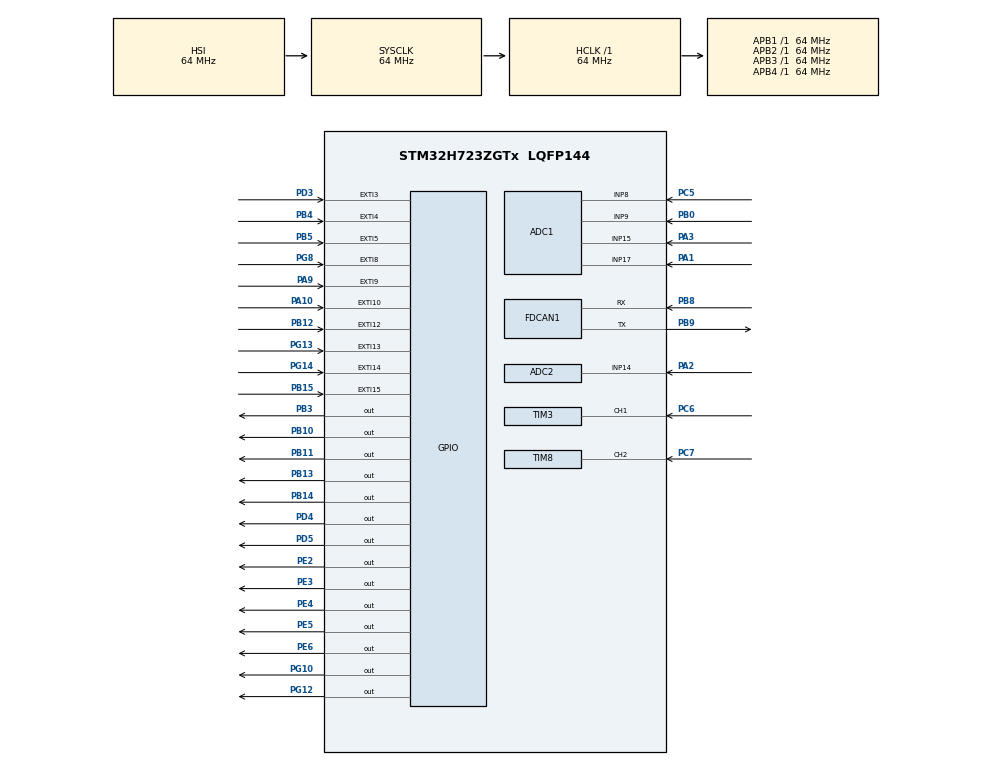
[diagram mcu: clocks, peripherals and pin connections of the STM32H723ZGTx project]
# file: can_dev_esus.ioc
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ADC1.Channel-0\#ChannelRegularConversion=ADC_CHANNEL_9
ADC1.ClockPrescaler=ADC_CLOCK_ASYNC_DIV4
ADC1.NbrOfConversionFlag=1
ADC1.OffsetNumber-0\#ChannelRegularConversion=ADC_OFFSET_NONE
ADC1.OffsetSignedSaturation-0\#ChannelRegularConversion=DISABLE
ADC1.Rank-0\#ChannelRegularConversion=1
ADC1.SamplingTime-0\#ChannelRegularConversion=ADC_SAMPLETIME_1CYCLE_5
ADC1.master=1
ADC2.Channel-0\#ChannelRegularConversion=ADC_CHANNEL_14
ADC2.ClockPrescaler=ADC_CLOCK_ASYNC_DIV4
ADC2.NbrOfConversionFlag=1
ADC2.OffsetNumber-0\#ChannelRegularConversion=ADC_OFFSET_NONE
ADC2.OffsetSignedSaturation-0\#ChannelRegularConversion=DISABLE
ADC2.Rank-0\#ChannelRegularConversion=1
ADC2.SamplingTime-0\#ChannelRegularConversion=ADC_SAMPLETIME_1CYCLE_5
CORTEX_M7.default_mode_Activation=1
FDCAN1.AutoRetransmission=ENABLE
FDCAN1.CalculateBaudRateNominal=500000
FDCAN1.CalculateTimeBitNominal=2000
FDCAN1.CalculateTimeQuantumNominal=125.0
FDCAN1.DataPrescaler=5
FDCAN1.DataSyncJumpWidth=2
FDCAN1.DataTimeSeg1=13
FDCAN1.DataTimeSeg2=6
FDCAN1.NominalPrescaler=6
FDCAN1.NominalSyncJumpWidth=6
FDCAN1.NominalTimeSeg1=13
FDCAN1.NominalTimeSeg2=2
FDCAN1.RxFifo0ElmtsNbr=4
FDCAN1.StdFiltersNbr=1
FDCAN1.TxFifoQueueElmtsNbr=4
Mcu.Family=STM32H7
Mcu.Name=STM32H723ZGTx
Mcu.Package=LQFP144
NVIC.FDCAN1_IT0_IRQn=true\:0\:0\:false\:false\:true\:true\:true\:true
NVIC.PriorityGroup=NVIC_PRIORITYGROUP_4
NVIC.TIM3_IRQn=true\:0\:0\:false\:false\:true\:true\:true\:true
NVIC.TIM8_CC_IRQn=true\:0\:0\:false\:false\:true\:true\:true\:true
PA0.Signal=ADC1_INP16
PA1.Mode=IN17-Single-Ended
PA1.Signal=ADC1_INP17
PA10.Signal=GPXTI10
PA11.Signal=USB_OTG_HS_DM
PA12.Signal=USB_OTG_HS_DP
PA13(JTMS/SWDIO).Signal=DEBUG_JTMS-SWDIO
PA14(JTCK/SWCLK).Signal=DEBUG_JTCK-SWCLK
PA2.Signal=ADCx_INP14
PA3.Signal=ADCx_INP15
PA7.Signal=FMC_SDNWE
PA9.Signal=GPXTI9
PB0.Signal=ADCx_INP9
PB1.Signal=ADCx_INP5
PB10.Signal=GPIO_Output
PB11.Signal=GPIO_Output
PB12.Signal=GPXTI12
PB13.Signal=GPIO_Output
PB14.Signal=GPIO_Output
PB15.Signal=GPXTI15
PB3(JTDO/TRACESWO).Signal=GPIO_Output
PB4(NJTRST).Signal=GPXTI4
PB5.Signal=GPXTI5
PB6.Signal=I2C1_SCL
PB7.Signal=I2C1_SDA
PB8.Mode=FDCAN_Activate
PB8.Signal=FDCAN1_RX
PB9.Mode=FDCAN_Activate
PB9.Signal=FDCAN1_TX
PC10.Signal=SDMMC1_D2
PC11.Signal=SDMMC1_D3
PC12.Signal=SDMMC1_CK
PC14-OSC32_IN.Mode=LSE-External-Oscillator
PC14-OSC32_IN.Signal=RCC_OSC32_IN
PC15-OSC32_OUT.Mode=LSE-External-Oscillator
PC15-OSC32_OUT.Signal=RCC_OSC32_OUT
PC2_C.Signal=FMC_SDNE0
PC3_C.Signal=FMC_SDCKE0
PC5.Signal=ADCx_INP8
PC6.Signal=S_TIM3_CH1
PC7.Signal=S_TIM8_CH2
PC8.Signal=SDMMC1_D0
PC9.Signal=SDMMC1_D1
PD0.Signal=FMC_D2_DA2
PD1.Signal=FMC_D3_DA3
PD14.Signal=FMC_D0_DA0
PD2.Signal=SDMMC1_CMD
PD3.Signal=GPXTI3
PD4.Signal=GPIO_Output
PD5.Signal=GPIO_Output
PD7.Signal=SPI1_MOSI
PE10.Signal=FMC_D7_DA7
PE11.Signal=OCTOSPIM_P1_NCS
PE2.Signal=GPIO_Output
PE3.Signal=GPIO_Output
PE4.Signal=GPIO_Output
PE5.Signal=GPIO_Output
PE6.Signal=GPIO_Output
PE7.Signal=FMC_D4_DA4
PE8.Signal=FMC_D5_DA5
PE9.Signal=FMC_D6_DA6
PF0.Signal=FMC_A0
PF1.Signal=FMC_A1
PF10.Signal=OCTOSPIM_P1_CLK
PF11.Signal=FMC_SDNRAS
PF12.Signal=FMC_A6
PF13.Signal=FMC_A7
PF14.Signal=FMC_A8
PF15.Signal=FMC_A9
PF2.Signal=FMC_A2
PF3.Signal=FMC_A3
PF4.Signal=FMC_A4
PF5.Signal=FMC_A5
PF6.Signal=OCTOSPIM_P1_IO3
PF7.Signal=OCTOSPIM_P1_IO2
PF8.Signal=OCTOSPIM_P1_IO0
PF9.Signal=OCTOSPIM_P1_IO1
PG0.Signal=FMC_A10
PG1.Signal=FMC_A11
PG10.Signal=GPIO_Output
PG11.Signal=SPI1_SCK
PG12.Signal=GPIO_Output
PG13.Signal=GPXTI13
PG14.Signal=GPXTI14
PG15.Signal=FMC_SDNCAS
PG2.Signal=FMC_A12
PG4.Signal=FMC_A14_BA0
PG5.Signal=FMC_A15_BA1
PG8.Signal=GPXTI8
PG9.Signal=SPI1_MISO
PH0-OSC_IN.Mode=HSE-External-Oscillator
PH0-OSC_IN.Signal=RCC_OSC_IN
PH1-OSC_OUT.Mode=HSE-External-Oscillator
PH1-OSC_OUT.Signal=RCC_OSC_OUT
ProjectManager.HeapSize=0x200
ProjectManager.StackSize=0x400
ProjectManager.TargetToolchain=CMake
RCC.ADCFreq_Value=38400000
RCC.APB1Freq_Value=64000000
RCC.APB2Freq_Value=64000000
RCC.APB3Freq_Value=64000000
RCC.APB4Freq_Value=64000000
RCC.CortexFreq_Value=64000000
RCC.DIVM1=4
RCC.DIVM2=4
RCC.DIVN1=12
RCC.DIVN2=12
RCC.DIVP2=5
RCC.DIVQ1=4
RCC.HCLKFreq_Value=64000000
RCC.PLL2FRACN=0
RCC.PLLFRACN=0
RCC.SYSCLKFreq_VALUE=64000000
RCC.USBFreq_Value=48000000
SH.ADCx_INP14.0=ADC2_INP14,IN14-Single-Ended
SH.ADCx_INP14.1=ADC1_INP14,IN14-Single-Ended
SH.ADCx_INP15.0=ADC1_INP15,IN15-Single-Ended
SH.ADCx_INP5.0=ADC1_INP5
SH.ADCx_INP8.0=ADC1_INP8,IN8-Single-Ended
SH.ADCx_INP9.0=ADC1_INP9,IN9-Single-Ended
SH.FMC_A0.0=FMC_A0
SH.FMC_A1.0=FMC_A1
SH.FMC_A10.0=FMC_A10
SH.FMC_A11.0=FMC_A11
SH.FMC_A12.0=FMC_A12
SH.FMC_A14_BA0.0=FMC_BA0
SH.FMC_A15_BA1.0=FMC_BA1
SH.FMC_A2.0=FMC_A2
SH.FMC_A3.0=FMC_A3
SH.FMC_A4.0=FMC_A4
SH.FMC_A5.0=FMC_A5
SH.FMC_A6.0=FMC_A6
SH.FMC_A7.0=FMC_A7
SH.FMC_A8.0=FMC_A8
SH.FMC_A9.0=FMC_A9
SH.FMC_D0_DA0.0=FMC_D0
SH.FMC_D2_DA2.0=FMC_D2
SH.FMC_D3_DA3.0=FMC_D3
SH.FMC_D4_DA4.0=FMC_D4
SH.FMC_D5_DA5.0=FMC_D5
SH.FMC_D6_DA6.0=FMC_D6
SH.FMC_D7_DA7.0=FMC_D7
SH.FMC_SDNCAS.0=FMC_SDNCAS
SH.FMC_SDNRAS.0=FMC_SDNRAS
SH.FMC_SDNWE.0=FMC_SDNWE
SH.S_TIM3_CH1.0=TIM3_CH1,Input_Capture1_from_TI1
SH.S_TIM8_CH2.0=TIM8_CH2,Input_Capture2_from_TI2
TIM3.Channel-Input_Capture1_from_TI1=TIM_CHANNEL_1
TIM3.ICFilter_CH1=15
TIM3.Prescaler=1999
TIM8.Channel-Input_Capture2_from_TI2=TIM_CHANNEL_2
TIM8.ICFilter_CH2=15
TIM8.ICPolarity_CH2=TIM_INPUTCHANNELPOLARITY_FALLING
TIM8.Prescaler=1999
VP_MEMORYMAP_VS_MEMORYMAP.Mode=CurAppReg
VP_TIM3_VS_ClockSourceINT.Mode=Internal
VP_TIM8_VS_ClockSourceINT.Mode=Internal
board=custom

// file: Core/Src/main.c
/* USER CODE BEGIN Header */
/* USER CODE END Header */
#include "main.h"

/* USER CODE BEGIN Includes */
#include "control.h"
#include "can_messages.h"

/* USER CODE END Includes */

/* USER CODE BEGIN PD */
#define TIM3_CLOCK_FREQ  32000   // (64MHz Clock / (1999 + 1))
#define TIM8_CLOCK_FREQ  32000   // (64MHz Clock / (1999 + 1))
#define MAGNET_DEBOUNCE_TIME_MS 5
#define SPARK_DEBOUNCE_TIME_MS 10
#define SMOOTHING_FACTOR 0.7f
#define PULSES_PER_REV   2.0f
#define MAX_RPM_LIMIT    20000
#define RADIUS_MM 266.7
#define PI 3.14159265358979323846
#define TIRE_CIRCUMFERENCE_KM  ((2.0f * PI * RADIUS_MM) / 1000000.0f)
/* USER CODE END PD */

ADC_HandleTypeDef hadc1;
ADC_HandleTypeDef hadc2;

FDCAN_HandleTypeDef hfdcan1;

TIM_HandleTypeDef htim3;
TIM_HandleTypeDef htim8;

/* USER CODE BEGIN PV */
volatile uint32_t previous_speedometer_capture_value = 0;
volatile uint32_t last_magnet_time = 0;
volatile uint32_t previous_tachometer_capture_value = 0;
volatile uint32_t last_spark_time = 0;
static float smoothed_speed_freq = 0;
static float smoothed_tach_freq = 0;
/* USER CODE END PV */

void SystemClock_Config(void);
void PeriphCommonClock_Config(void);
static void MPU_Config(void);
static void MX_GPIO_Init(void);
static void MX_FDCAN1_Init(void);
static void MX_ADC1_Init(void);
static void MX_ADC2_Init(void);
static void MX_TIM3_Init(void);
static void MX_TIM8_Init(void);

int main(void)
{

  /* MPU Configuration--------------------------------------------------------*/
  MPU_Config();

  /* MCU Configuration--------------------------------------------------------*/

  /* Reset of all peripherals, Initializes the Flash interface and the Systick. */
  HAL_Init();

  /* Configure the system clock */
  SystemClock_Config();

  /* Configure the peripherals common clocks */
  PeriphCommonClock_Config();

  /* Initialize all configured peripherals */
  MX_GPIO_Init();
  MX_FDCAN1_Init();
  MX_ADC1_Init();
  MX_ADC2_Init();
  MX_TIM3_Init();
  MX_TIM8_Init();
  /* USER CODE BEGIN 2 */
  if (HAL_FDCAN_Start(&hfdcan1) != HAL_OK)
  {
    Error_Handler();
  }

  HAL_NVIC_SetPriority(TIM3_IRQn, 0, 0);
  HAL_NVIC_EnableIRQ(TIM3_IRQn);

  HAL_NVIC_SetPriority(TIM8_CC_IRQn, 0, 0);
  HAL_NVIC_EnableIRQ(TIM8_CC_IRQn);

  if (HAL_TIM_IC_Start_IT(&htim3, TIM_CHANNEL_1) != HAL_OK)
  {
    Error_Handler();
  }
  if (HAL_TIM_IC_Start_IT(&htim8, TIM_CHANNEL_2) != HAL_OK)
    {
      Error_Handler();
    }

  HAL_FDCAN_ConfigGlobalFilter(
          &hfdcan1,
          FDCAN_ACCEPT_IN_RX_FIFO0,     // Accept standard IDs
          FDCAN_ACCEPT_IN_RX_FIFO0,     // Accept extended IDs
          DISABLE,                      // No remote frames rejected
          DISABLE                       // No extended remote frames rejected
  );

  FDCAN_TxHeaderTypeDef TxHeader;
  uint8_t TxData[8] = {0x11, 0x22, 0x33, 0x44, 0x55, 0x66, 0x77, 0x88};

  TxHeader.Identifier = 0x123;
  TxHeader.IdType = FDCAN_STANDARD_ID;
  TxHeader.TxFrameType = FDCAN_DATA_FRAME;
  TxHeader.DataLength = FDCAN_DLC_BYTES_8;
  TxHeader.ErrorStateIndicator = FDCAN_ESI_ACTIVE;
  TxHeader.BitRateSwitch = FDCAN_BRS_OFF;
  TxHeader.FDFormat = FDCAN_CLASSIC_CAN;
  TxHeader.TxEventFifoControl = FDCAN_STORE_TX_EVENTS;
  TxHeader.MessageMarker = 0;

  /* USER CODE END 2 */

  /* Infinite loop */
  while (1)
  {

    /* USER CODE BEGIN 3 */

	uint32_t current_time = HAL_GetTick();

	if ((current_time - last_magnet_time) > 1000)
	{
	  measured_speedometer_frequency = 0;
	  smoothed_speed_freq = 0;
	}

	if ((current_time - last_spark_time) > 1000)
	{
	  measured_tachometer_frequency = 0;
	  smoothed_tach_freq = 0;
	 }

    SendSpeedOnCan(CAN_ID_REAR_SPEED);
    // TODO: For testing on the Dyno the tachometer is sending RPM, for the actual car we
    //       may want to send freq on CAN and give the calculation to the PI
    SendTachometerOnCan(CAN_ID_REAR_RPM);

    // Send message every 100 ms
    HAL_Delay(100);
  }
  /* USER CODE END 3 */
}

void SystemClock_Config(void)
{
  RCC_OscInitTypeDef RCC_OscInitStruct = {0};
  RCC_ClkInitTypeDef RCC_ClkInitStruct = {0};

  /** Supply configuration update enable
  */
  HAL_PWREx_ConfigSupply(PWR_LDO_SUPPLY);

  /** Configure the main internal regulator output voltage
  */
  __HAL_PWR_VOLTAGESCALING_CONFIG(PWR_REGULATOR_VOLTAGE_SCALE3);

  while(!__HAL_PWR_GET_FLAG(PWR_FLAG_VOSRDY)) {}

  /** Initializes the RCC Oscillators according to the specified parameters
  * in the RCC_OscInitTypeDef structure.
  */
  RCC_OscInitStruct.OscillatorType = RCC_OSCILLATORTYPE_HSI;
  RCC_OscInitStruct.HSIState = RCC_HSI_DIV1;
  RCC_OscInitStruct.HSICalibrationValue = 64;
  RCC_OscInitStruct.PLL.PLLState = RCC_PLL_ON;
  RCC_OscInitStruct.PLL.PLLSource = RCC_PLLSOURCE_HSI;
  RCC_OscInitStruct.PLL.PLLM = 4;
  RCC_OscInitStruct.PLL.PLLN = 12;
  RCC_OscInitStruct.PLL.PLLP = 2;
  RCC_OscInitStruct.PLL.PLLQ = 4;
  RCC_OscInitStruct.PLL.PLLR = 2;
  RCC_OscInitStruct.PLL.PLLRGE = RCC_PLL1VCIRANGE_3;
  RCC_OscInitStruct.PLL.PLLVCOSEL = RCC_PLL1VCOWIDE;
  RCC_OscInitStruct.PLL.PLLFRACN = 0;
  if (HAL_RCC_OscConfig(&RCC_OscInitStruct) != HAL_OK)
  {
    Error_Handler();
  }

  /** Initializes the CPU, AHB and APB buses clocks
  */
  RCC_ClkInitStruct.ClockType = RCC_CLOCKTYPE_HCLK|RCC_CLOCKTYPE_SYSCLK
                              |RCC_CLOCKTYPE_PCLK1|RCC_CLOCKTYPE_PCLK2
                              |RCC_CLOCKTYPE_D3PCLK1|RCC_CLOCKTYPE_D1PCLK1;
  RCC_ClkInitStruct.SYSCLKSource = RCC_SYSCLKSOURCE_HSI;
  RCC_ClkInitStruct.SYSCLKDivider = RCC_SYSCLK_DIV1;
  RCC_ClkInitStruct.AHBCLKDivider = RCC_HCLK_DIV1;
  RCC_ClkInitStruct.APB3CLKDivider = RCC_APB3_DIV1;
  RCC_ClkInitStruct.APB1CLKDivider = RCC_APB1_DIV1;
  RCC_ClkInitStruct.APB2CLKDivider = RCC_APB2_DIV1;
  RCC_ClkInitStruct.APB4CLKDivider = RCC_APB4_DIV1;

  if (HAL_RCC_ClockConfig(&RCC_ClkInitStruct, FLASH_LATENCY_1) != HAL_OK)
  {
    Error_Handler();
  }
}

void PeriphCommonClock_Config(void)
{
  RCC_PeriphCLKInitTypeDef PeriphClkInitStruct = {0};

  /** Initializes the peripherals clock
  */
  PeriphClkInitStruct.PeriphClockSelection = RCC_PERIPHCLK_ADC;
  PeriphClkInitStruct.PLL2.PLL2M = 4;
  PeriphClkInitStruct.PLL2.PLL2N = 12;
  PeriphClkInitStruct.PLL2.PLL2P = 5;
  PeriphClkInitStruct.PLL2.PLL2Q = 2;
  PeriphClkInitStruct.PLL2.PLL2R = 2;
  PeriphClkInitStruct.PLL2.PLL2RGE = RCC_PLL2VCIRANGE_3;
  PeriphClkInitStruct.PLL2.PLL2VCOSEL = RCC_PLL2VCOWIDE;
  PeriphClkInitStruct.PLL2.PLL2FRACN = 0;
  PeriphClkInitStruct.AdcClockSelection = RCC_ADCCLKSOURCE_PLL2;
  if (HAL_RCCEx_PeriphCLKConfig(&PeriphClkInitStruct) != HAL_OK)
  {
    Error_Handler();
  }
}

static void MX_ADC1_Init(void)
{

  ADC_MultiModeTypeDef multimode = {0};
  ADC_ChannelConfTypeDef sConfig = {0};

  /** Common config
  */
  hadc1.Instance = ADC1;
  hadc1.Init.ClockPrescaler = ADC_CLOCK_ASYNC_DIV4;
  hadc1.Init.Resolution = ADC_RESOLUTION_16B;
  hadc1.Init.ScanConvMode = ADC_SCAN_DISABLE;
  hadc1.Init.EOCSelection = ADC_EOC_SINGLE_CONV;
  hadc1.Init.LowPowerAutoWait = DISABLE;
  hadc1.Init.ContinuousConvMode = DISABLE;
  hadc1.Init.NbrOfConversion = 1;
  hadc1.Init.DiscontinuousConvMode = DISABLE;
  hadc1.Init.ExternalTrigConv = ADC_SOFTWARE_START;
  hadc1.Init.ExternalTrigConvEdge = ADC_EXTERNALTRIGCONVEDGE_NONE;
  hadc1.Init.ConversionDataManagement = ADC_CONVERSIONDATA_DR;
  hadc1.Init.Overrun = ADC_OVR_DATA_PRESERVED;
  hadc1.Init.LeftBitShift = ADC_LEFTBITSHIFT_NONE;
  hadc1.Init.OversamplingMode = DISABLE;
  hadc1.Init.Oversampling.Ratio = 1;
  if (HAL_ADC_Init(&hadc1) != HAL_OK)
  {
    Error_Handler();
  }

  /** Configure the ADC multi-mode
  */
  multimode.Mode = ADC_MODE_INDEPENDENT;
  if (HAL_ADCEx_MultiModeConfigChannel(&hadc1, &multimode) != HAL_OK)
  {
    Error_Handler();
  }

  /** Configure Regular Channel
  */
  sConfig.Channel = ADC_CHANNEL_9;
  sConfig.Rank = ADC_REGULAR_RANK_1;
  sConfig.SamplingTime = ADC_SAMPLETIME_1CYCLE_5;
  sConfig.SingleDiff = ADC_SINGLE_ENDED;
  sConfig.OffsetNumber = ADC_OFFSET_NONE;
  sConfig.Offset = 0;
  sConfig.OffsetSignedSaturation = DISABLE;
  if (HAL_ADC_ConfigChannel(&hadc1, &sConfig) != HAL_OK)
  {
    Error_Handler();
  }

}

static void MX_ADC2_Init(void)
{

  ADC_ChannelConfTypeDef sConfig = {0};

  /** Common config
  */
  hadc2.Instance = ADC2;
  hadc2.Init.ClockPrescaler = ADC_CLOCK_ASYNC_DIV4;
  hadc2.Init.Resolution = ADC_RESOLUTION_16B;
  hadc2.Init.ScanConvMode = ADC_SCAN_DISABLE;
  hadc2.Init.EOCSelection = ADC_EOC_SINGLE_CONV;
  hadc2.Init.LowPowerAutoWait = DISABLE;
  hadc2.Init.ContinuousConvMode = DISABLE;
  hadc2.Init.NbrOfConversion = 1;
  hadc2.Init.DiscontinuousConvMode = DISABLE;
  hadc2.Init.ExternalTrigConv = ADC_SOFTWARE_START;
  hadc2.Init.ExternalTrigConvEdge = ADC_EXTERNALTRIGCONVEDGE_NONE;
  hadc2.Init.ConversionDataManagement = ADC_CONVERSIONDATA_DR;
  hadc2.Init.Overrun = ADC_OVR_DATA_PRESERVED;
  hadc2.Init.LeftBitShift = ADC_LEFTBITSHIFT_NONE;
  hadc2.Init.OversamplingMode = DISABLE;
  hadc2.Init.Oversampling.Ratio = 1;
  if (HAL_ADC_Init(&hadc2) != HAL_OK)
  {
    Error_Handler();
  }

  /** Configure Regular Channel
  */
  sConfig.Channel = ADC_CHANNEL_14;
  sConfig.Rank = ADC_REGULAR_RANK_1;
  sConfig.SamplingTime = ADC_SAMPLETIME_1CYCLE_5;
  sConfig.SingleDiff = ADC_SINGLE_ENDED;
  sConfig.OffsetNumber = ADC_OFFSET_NONE;
  sConfig.Offset = 0;
  sConfig.OffsetSignedSaturation = DISABLE;
  if (HAL_ADC_ConfigChannel(&hadc2, &sConfig) != HAL_OK)
  {
    Error_Handler();
  }

}

static void MX_FDCAN1_Init(void)
{

  hfdcan1.Instance = FDCAN1;
  hfdcan1.Init.FrameFormat = FDCAN_FRAME_CLASSIC;
  hfdcan1.Init.Mode = FDCAN_MODE_NORMAL;
  hfdcan1.Init.AutoRetransmission = ENABLE;
  hfdcan1.Init.TransmitPause = DISABLE;
  hfdcan1.Init.ProtocolException = DISABLE;
  hfdcan1.Init.NominalPrescaler = 6;
  hfdcan1.Init.NominalSyncJumpWidth = 6;
  hfdcan1.Init.NominalTimeSeg1 = 13;
  hfdcan1.Init.NominalTimeSeg2 = 2;
  hfdcan1.Init.DataPrescaler = 5;
  hfdcan1.Init.DataSyncJumpWidth = 2;
  hfdcan1.Init.DataTimeSeg1 = 13;
  hfdcan1.Init.DataTimeSeg2 = 6;
  hfdcan1.Init.MessageRAMOffset = 0;
  hfdcan1.Init.StdFiltersNbr = 1;
  hfdcan1.Init.ExtFiltersNbr = 0;
  hfdcan1.Init.RxFifo0ElmtsNbr = 4;
  hfdcan1.Init.RxFifo0ElmtSize = FDCAN_DATA_BYTES_8;
  hfdcan1.Init.RxFifo1ElmtsNbr = 0;
  hfdcan1.Init.RxFifo1ElmtSize = FDCAN_DATA_BYTES_8;
  hfdcan1.Init.RxBuffersNbr = 0;
  hfdcan1.Init.RxBufferSize = FDCAN_DATA_BYTES_8;
  hfdcan1.Init.TxEventsNbr = 0;
  hfdcan1.Init.TxBuffersNbr = 0;
  hfdcan1.Init.TxFifoQueueElmtsNbr = 4;
  hfdcan1.Init.TxFifoQueueMode = FDCAN_TX_FIFO_OPERATION;
  hfdcan1.Init.TxElmtSize = FDCAN_DATA_BYTES_8;
  if (HAL_FDCAN_Init(&hfdcan1) != HAL_OK)
  {
    Error_Handler();
  }

}

static void MX_TIM3_Init(void)
{

  TIM_ClockConfigTypeDef sClockSourceConfig = {0};
  TIM_MasterConfigTypeDef sMasterConfig = {0};
  TIM_IC_InitTypeDef sConfigIC = {0};

  htim3.Instance = TIM3;
  htim3.Init.Prescaler = 1999;
  htim3.Init.CounterMode = TIM_COUNTERMODE_UP;
  htim3.Init.Period = 65535;
  htim3.Init.ClockDivision = TIM_CLOCKDIVISION_DIV1;
  htim3.Init.AutoReloadPreload = TIM_AUTORELOAD_PRELOAD_DISABLE;
  if (HAL_TIM_Base_Init(&htim3) != HAL_OK)
  {
    Error_Handler();
  }
  sClockSourceConfig.ClockSource = TIM_CLOCKSOURCE_INTERNAL;
  if (HAL_TIM_ConfigClockSource(&htim3, &sClockSourceConfig) != HAL_OK)
  {
    Error_Handler();
  }
  if (HAL_TIM_IC_Init(&htim3) != HAL_OK)
  {
    Error_Handler();
  }
  sMasterConfig.MasterOutputTrigger = TIM_TRGO_RESET;
  sMasterConfig.MasterSlaveMode = TIM_MASTERSLAVEMODE_DISABLE;
  if (HAL_TIMEx_MasterConfigSynchronization(&htim3, &sMasterConfig) != HAL_OK)
  {
    Error_Handler();
  }
  sConfigIC.ICPolarity = TIM_INPUTCHANNELPOLARITY_RISING;
  sConfigIC.ICSelection = TIM_ICSELECTION_DIRECTTI;
  sConfigIC.ICPrescaler = TIM_ICPSC_DIV1;
  sConfigIC.ICFilter = 15;
  if (HAL_TIM_IC_ConfigChannel(&htim3, &sConfigIC, TIM_CHANNEL_1) != HAL_OK)
  {
    Error_Handler();
  }

}

static void MX_TIM8_Init(void)
{

  TIM_ClockConfigTypeDef sClockSourceConfig = {0};
  TIM_MasterConfigTypeDef sMasterConfig = {0};
  TIM_IC_InitTypeDef sConfigIC = {0};

  htim8.Instance = TIM8;
  htim8.Init.Prescaler = 1999;
  htim8.Init.CounterMode = TIM_COUNTERMODE_UP;
  htim8.Init.Period = 65535;
  htim8.Init.ClockDivision = TIM_CLOCKDIVISION_DIV1;
  htim8.Init.RepetitionCounter = 0;
  htim8.Init.AutoReloadPreload = TIM_AUTORELOAD_PRELOAD_DISABLE;
  if (HAL_TIM_Base_Init(&htim8) != HAL_OK)
  {
    Error_Handler();
  }
  sClockSourceConfig.ClockSource = TIM_CLOCKSOURCE_INTERNAL;
  if (HAL_TIM_ConfigClockSource(&htim8, &sClockSourceConfig) != HAL_OK)
  {
    Error_Handler();
  }
  if (HAL_TIM_IC_Init(&htim8) != HAL_OK)
  {
    Error_Handler();
  }
  sMasterConfig.MasterOutputTrigger = TIM_TRGO_RESET;
  sMasterConfig.MasterOutputTrigger2 = TIM_TRGO2_RESET;
  sMasterConfig.MasterSlaveMode = TIM_MASTERSLAVEMODE_DISABLE;
  if (HAL_TIMEx_MasterConfigSynchronization(&htim8, &sMasterConfig) != HAL_OK)
  {
    Error_Handler();
  }
  sConfigIC.ICPolarity = TIM_INPUTCHANNELPOLARITY_FALLING;
  sConfigIC.ICSelection = TIM_ICSELECTION_DIRECTTI;
  sConfigIC.ICPrescaler = TIM_ICPSC_DIV1;
  sConfigIC.ICFilter = 15;
  if (HAL_TIM_IC_ConfigChannel(&htim8, &sConfigIC, TIM_CHANNEL_2) != HAL_OK)
  {
    Error_Handler();
  }

}

static void MX_GPIO_Init(void)
{
  GPIO_InitTypeDef GPIO_InitStruct = {0};

  /* GPIO Ports Clock Enable */
  __HAL_RCC_GPIOE_CLK_ENABLE();
  __HAL_RCC_GPIOC_CLK_ENABLE();
  __HAL_RCC_GPIOF_CLK_ENABLE();
  __HAL_RCC_GPIOH_CLK_ENABLE();
  __HAL_RCC_GPIOA_CLK_ENABLE();
  __HAL_RCC_GPIOB_CLK_ENABLE();
  __HAL_RCC_GPIOG_CLK_ENABLE();
  __HAL_RCC_GPIOD_CLK_ENABLE();

  /*Configure GPIO pin Output Level */
  HAL_GPIO_WritePin(GPIOE, GPIO_PIN_2|GPIO_PIN_3|GPIO_PIN_4|GPIO_PIN_5
                          |GPIO_PIN_6, GPIO_PIN_RESET);

  /*Configure GPIO pin Output Level */
  HAL_GPIO_WritePin(GPIOB, GPIO_PIN_10|GPIO_PIN_11|GPIO_PIN_13|GPIO_PIN_14
                          |GPIO_PIN_3, GPIO_PIN_RESET);

  /*Configure GPIO pin Output Level */
  HAL_GPIO_WritePin(GPIOD, GPIO_PIN_4|GPIO_PIN_5, GPIO_PIN_RESET);

  /*Configure GPIO pin Output Level */
  HAL_GPIO_WritePin(GPIOG, GPIO_PIN_10|GPIO_PIN_12, GPIO_PIN_RESET);

  /*Configure GPIO pins : PE2 PE3 PE4 PE5
                           PE6 */
  GPIO_InitStruct.Pin = GPIO_PIN_2|GPIO_PIN_3|GPIO_PIN_4|GPIO_PIN_5
                          |GPIO_PIN_6;
  GPIO_InitStruct.Mode = GPIO_MODE_OUTPUT_PP;
  GPIO_InitStruct.Pull = GPIO_NOPULL;
  GPIO_InitStruct.Speed = GPIO_SPEED_FREQ_LOW;
  HAL_GPIO_Init(GPIOE, &GPIO_InitStruct);

  /*Configure GPIO pins : PF0 PF1 PF2 PF3
                           PF4 PF5 PF11 PF12
                           PF13 PF14 PF15 */
  GPIO_InitStruct.Pin = GPIO_PIN_0|GPIO_PIN_1|GPIO_PIN_2|GPIO_PIN_3
                          |GPIO_PIN_4|GPIO_PIN_5|GPIO_PIN_11|GPIO_PIN_12
                          |GPIO_PIN_13|GPIO_PIN_14|GPIO_PIN_15;
  GPIO_InitStruct.Mode = GPIO_MODE_AF_PP;
  GPIO_InitStruct.Pull = GPIO_NOPULL;
  GPIO_InitStruct.Speed = GPIO_SPEED_FREQ_VERY_HIGH;
  GPIO_InitStruct.Alternate = GPIO_AF12_FMC;
  HAL_GPIO_Init(GPIOF, &GPIO_InitStruct);

  /*Configure GPIO pins : PF6 PF7 PF8 PF9 */
  GPIO_InitStruct.Pin = GPIO_PIN_6|GPIO_PIN_7|GPIO_PIN_8|GPIO_PIN_9;
  GPIO_InitStruct.Mode = GPIO_MODE_AF_PP;
  GPIO_InitStruct.Pull = GPIO_NOPULL;
  GPIO_InitStruct.Speed = GPIO_SPEED_FREQ_VERY_HIGH;
  GPIO_InitStruct.Alternate = GPIO_AF10_OCTOSPIM_P1;
  HAL_GPIO_Init(GPIOF, &GPIO_InitStruct);

  /*Configure GPIO pin : PF10 */
  GPIO_InitStruct.Pin = GPIO_PIN_10;
  GPIO_InitStruct.Mode = GPIO_MODE_AF_PP;
  GPIO_InitStruct.Pull = GPIO_NOPULL;
  GPIO_InitStruct.Speed = GPIO_SPEED_FREQ_VERY_HIGH;
  GPIO_InitStruct.Alternate = GPIO_AF9_OCTOSPIM_P1;
  HAL_GPIO_Init(GPIOF, &GPIO_InitStruct);

  /*Configure GPIO pins : PC2 PC3 */
  GPIO_InitStruct.Pin = GPIO_PIN_2|GPIO_PIN_3;
  GPIO_InitStruct.Mode = GPIO_MODE_AF_PP;
  GPIO_InitStruct.Pull = GPIO_NOPULL;
  GPIO_InitStruct.Speed = GPIO_SPEED_FREQ_VERY_HIGH;
  GPIO_InitStruct.Alternate = GPIO_AF12_FMC;
  HAL_GPIO_Init(GPIOC, &GPIO_InitStruct);

  /*Configure GPIO pin : PA7 */
  GPIO_InitStruct.Pin = GPIO_PIN_7;
  GPIO_InitStruct.Mode = GPIO_MODE_AF_PP;
  GPIO_InitStruct.Pull = GPIO_NOPULL;
  GPIO_InitStruct.Speed = GPIO_SPEED_FREQ_VERY_HIGH;
  GPIO_InitStruct.Alternate = GPIO_AF12_FMC;
  HAL_GPIO_Init(GPIOA, &GPIO_InitStruct);

  /*Configure GPIO pins : PG0 PG1 PG2 PG4
                           PG5 PG15 */
  GPIO_InitStruct.Pin = GPIO_PIN_0|GPIO_PIN_1|GPIO_PIN_2|GPIO_PIN_4
                          |GPIO_PIN_5|GPIO_PIN_15;
  GPIO_InitStruct.Mode = GPIO_MODE_AF_PP;
  GPIO_InitStruct.Pull = GPIO_NOPULL;
  GPIO_InitStruct.Speed = GPIO_SPEED_FREQ_VERY_HIGH;
  GPIO_InitStruct.Alternate = GPIO_AF12_FMC;
  HAL_GPIO_Init(GPIOG, &GPIO_InitStruct);

  /*Configure GPIO pins : PE7 PE8 PE9 PE10 */
  GPIO_InitStruct.Pin = GPIO_PIN_7|GPIO_PIN_8|GPIO_PIN_9|GPIO_PIN_10;
  GPIO_InitStruct.Mode = GPIO_MODE_AF_PP;
  GPIO_InitStruct.Pull = GPIO_NOPULL;
  GPIO_InitStruct.Speed = GPIO_SPEED_FREQ_VERY_HIGH;
  GPIO_InitStruct.Alternate = GPIO_AF12_FMC;
  HAL_GPIO_Init(GPIOE, &GPIO_InitStruct);

  /*Configure GPIO pin : PE11 */
  GPIO_InitStruct.Pin = GPIO_PIN_11;
  GPIO_InitStruct.Mode = GPIO_MODE_AF_PP;
  GPIO_InitStruct.Pull = GPIO_NOPULL;
  GPIO_InitStruct.Speed = GPIO_SPEED_FREQ_VERY_HIGH;
  GPIO_InitStruct.Alternate = GPIO_AF11_OCTOSPIM_P1;
  HAL_GPIO_Init(GPIOE, &GPIO_InitStruct);

  /*Configure GPIO pins : PB10 PB11 PB13 PB14
                           PB3 */
  GPIO_InitStruct.Pin = GPIO_PIN_10|GPIO_PIN_11|GPIO_PIN_13|GPIO_PIN_14
                          |GPIO_PIN_3;
  GPIO_InitStruct.Mode = GPIO_MODE_OUTPUT_PP;
  GPIO_InitStruct.Pull = GPIO_NOPULL;
  GPIO_InitStruct.Speed = GPIO_SPEED_FREQ_LOW;
  HAL_GPIO_Init(GPIOB, &GPIO_InitStruct);

  /*Configure GPIO pins : PB12 PB15 PB4 PB5 */
  GPIO_InitStruct.Pin = GPIO_PIN_12|GPIO_PIN_15|GPIO_PIN_4|GPIO_PIN_5;
  GPIO_InitStruct.Mode = GPIO_MODE_IT_RISING;
  GPIO_InitStruct.Pull = GPIO_NOPULL;
  HAL_GPIO_Init(GPIOB, &GPIO_InitStruct);

  /*Configure GPIO pins : PD14 PD0 PD1 */
  GPIO_InitStruct.Pin = GPIO_PIN_14|GPIO_PIN_0|GPIO_PIN_1;
  GPIO_InitStruct.Mode = GPIO_MODE_AF_PP;
  GPIO_InitStruct.Pull = GPIO_NOPULL;
  GPIO_InitStruct.Speed = GPIO_SPEED_FREQ_VERY_HIGH;
  GPIO_InitStruct.Alternate = GPIO_AF12_FMC;
  HAL_GPIO_Init(GPIOD, &GPIO_InitStruct);

  /*Configure GPIO pins : PG8 PG13 PG14 */
  GPIO_InitStruct.Pin = GPIO_PIN_8|GPIO_PIN_13|GPIO_PIN_14;
  GPIO_InitStruct.Mode = GPIO_MODE_IT_RISING;
  GPIO_InitStruct.Pull = GPIO_NOPULL;
  HAL_GPIO_Init(GPIOG, &GPIO_InitStruct);

  /*Configure GPIO pins : PC8 PC9 PC10 PC11
                           PC12 */
  GPIO_InitStruct.Pin = GPIO_PIN_8|GPIO_PIN_9|GPIO_PIN_10|GPIO_PIN_11
                          |GPIO_PIN_12;
  GPIO_InitStruct.Mode = GPIO_MODE_AF_PP;
  GPIO_InitStruct.Pull = GPIO_NOPULL;
  GPIO_InitStruct.Speed = GPIO_SPEED_FREQ_VERY_HIGH;
  GPIO_InitStruct.Alternate = GPIO_AF12_SDMMC1;
  HAL_GPIO_Init(GPIOC, &GPIO_InitStruct);

  /*Configure GPIO pins : PA9 PA10 */
  GPIO_InitStruct.Pin = GPIO_PIN_9|GPIO_PIN_10;
  GPIO_InitStruct.Mode = GPIO_MODE_IT_RISING;
  GPIO_InitStruct.Pull = GPIO_NOPULL;
  HAL_GPIO_Init(GPIOA, &GPIO_InitStruct);

  /*Configure GPIO pins : PA11 PA12 */
  GPIO_InitStruct.Pin = GPIO_PIN_11|GPIO_PIN_12;
  GPIO_InitStruct.Mode = GPIO_MODE_AF_PP;
  GPIO_InitStruct.Pull = GPIO_NOPULL;
  GPIO_InitStruct.Speed = GPIO_SPEED_FREQ_LOW;
  HAL_GPIO_Init(GPIOA, &GPIO_InitStruct);

  /*Configure GPIO pin : PD2 */
  GPIO_InitStruct.Pin = GPIO_PIN_2;
  GPIO_InitStruct.Mode = GPIO_MODE_AF_PP;
  GPIO_InitStruct.Pull = GPIO_NOPULL;
  GPIO_InitStruct.Speed = GPIO_SPEED_FREQ_VERY_HIGH;
  GPIO_InitStruct.Alternate = GPIO_AF12_SDMMC1;
  HAL_GPIO_Init(GPIOD, &GPIO_InitStruct);

  /*Configure GPIO pin : PD3 */
  GPIO_InitStruct.Pin = GPIO_PIN_3;
  GPIO_InitStruct.Mode = GPIO_MODE_IT_RISING;
  GPIO_InitStruct.Pull = GPIO_NOPULL;
  HAL_GPIO_Init(GPIOD, &GPIO_InitStruct);

  /*Configure GPIO pins : PD4 PD5 */
  GPIO_InitStruct.Pin = GPIO_PIN_4|GPIO_PIN_5;
  GPIO_InitStruct.Mode = GPIO_MODE_OUTPUT_PP;
  GPIO_InitStruct.Pull = GPIO_NOPULL;
  GPIO_InitStruct.Speed = GPIO_SPEED_FREQ_LOW;
  HAL_GPIO_Init(GPIOD, &GPIO_InitStruct);

  /*Configure GPIO pin : PD7 */
  GPIO_InitStruct.Pin = GPIO_PIN_7;
  GPIO_InitStruct.Mode = GPIO_MODE_AF_PP;
  GPIO_InitStruct.Pull = GPIO_NOPULL;
  GPIO_InitStruct.Speed = GPIO_SPEED_FREQ_LOW;
  GPIO_InitStruct.Alternate = GPIO_AF5_SPI1;
  HAL_GPIO_Init(GPIOD, &GPIO_InitStruct);

  /*Configure GPIO pins : PG9 PG11 */
  GPIO_InitStruct.Pin = GPIO_PIN_9|GPIO_PIN_11;
  GPIO_InitStruct.Mode = GPIO_MODE_AF_PP;
  GPIO_InitStruct.Pull = GPIO_NOPULL;
  GPIO_InitStruct.Speed = GPIO_SPEED_FREQ_LOW;
  GPIO_InitStruct.Alternate = GPIO_AF5_SPI1;
  HAL_GPIO_Init(GPIOG, &GPIO_InitStruct);

  /*Configure GPIO pins : PG10 PG12 */
  GPIO_InitStruct.Pin = GPIO_PIN_10|GPIO_PIN_12;
  GPIO_InitStruct.Mode = GPIO_MODE_OUTPUT_PP;
  GPIO_InitStruct.Pull = GPIO_NOPULL;
  GPIO_InitStruct.Speed = GPIO_SPEED_FREQ_LOW;
  HAL_GPIO_Init(GPIOG, &GPIO_InitStruct);

  /*Configure GPIO pins : PB6 PB7 */
  GPIO_InitStruct.Pin = GPIO_PIN_6|GPIO_PIN_7;
  GPIO_InitStruct.Mode = GPIO_MODE_AF_OD;
  GPIO_InitStruct.Pull = GPIO_NOPULL;
  GPIO_InitStruct.Speed = GPIO_SPEED_FREQ_LOW;
  GPIO_InitStruct.Alternate = GPIO_AF4_I2C1;
  HAL_GPIO_Init(GPIOB, &GPIO_InitStruct);

  /* USER CODE BEGIN MX_GPIO_Init_2 */
  /*Configure GPIO pin : PC6 (TIM3 CH1) */
  GPIO_InitStruct.Pin = GPIO_PIN_6;
  GPIO_InitStruct.Mode = GPIO_MODE_AF_PP;       // Connects pin to Internal Timer Hardware
  GPIO_InitStruct.Pull = GPIO_PULLUP;           // Enables internal resistor (as you requested)
  GPIO_InitStruct.Speed = GPIO_SPEED_FREQ_LOW;
  GPIO_InitStruct.Alternate = GPIO_AF2_TIM3;    // Selects TIM3 function for this pin
  HAL_GPIO_Init(GPIOC, &GPIO_InitStruct);
  /* USER CODE END MX_GPIO_Init_2 */
}

/* USER CODE BEGIN 4 */
/* USER CODE BEGIN 4 */
void HAL_TIM_IC_CaptureCallback(TIM_HandleTypeDef *htim)
{
  // Ensure we are handling TIM3, Channel 1
  if (htim->Instance == TIM3 && htim->Channel == HAL_TIM_ACTIVE_CHANNEL_1)
  {
    uint32_t current_time = HAL_GetTick();

    if ((current_time - last_magnet_time) < MAGNET_DEBOUNCE_TIME_MS)
    {
      return;
    }

    uint32_t current_capture = HAL_TIM_ReadCapturedValue(htim, TIM_CHANNEL_1);
    uint32_t diff = 0;

    if (current_capture >= previous_speedometer_capture_value)
    {
      diff = current_capture - previous_speedometer_capture_value;
    }
    else
    {
      // (Period - Old) + New + 1
      diff = (htim->Init.Period - previous_speedometer_capture_value) + current_capture + 1;
    }

    if (diff > 0)
    {
      float instant_freq = (float)TIM3_CLOCK_FREQ / diff;
      // Exponential Smoothing
      smoothed_speed_freq = (instant_freq * SMOOTHING_FACTOR) + (smoothed_speed_freq * (1.0f - SMOOTHING_FACTOR));
      double smoothed_speed_kmh = smoothed_speed_freq * TIRE_CIRCUMFERENCE_KM * 3600.0;

      measured_speedometer_frequency = (float) smoothed_speed_kmh;

      previous_speedometer_capture_value = current_capture;
      last_magnet_time = current_time;
    }
  }

  if (htim->Instance == TIM8 && htim->Channel == HAL_TIM_ACTIVE_CHANNEL_2)
    {
      uint32_t current_time = HAL_GetTick();

      if ((current_time - last_spark_time) < SPARK_DEBOUNCE_TIME_MS)
      {
        return;
      }

      uint32_t current_capture = HAL_TIM_ReadCapturedValue(htim, TIM_CHANNEL_2);
      uint32_t diff = 0;

      if (current_capture >= previous_tachometer_capture_value)
      {
        diff = current_capture - previous_tachometer_capture_value;
      }
      else
      {
        diff = (htim->Init.Period - previous_tachometer_capture_value) + current_capture + 1;
      }

      if (diff > 0)
      {
    	  float instant_freq = (float)TIM8_CLOCK_FREQ / diff;

   	  smoothed_tach_freq = (instant_freq * SMOOTHING_FACTOR) + (smoothed_tach_freq * (1.0f - SMOOTHING_FACTOR));

   	  double calculated_rpm = ((smoothed_tach_freq * 60.0f) / PULSES_PER_REV);

   	  if (calculated_rpm > MAX_RPM_LIMIT) {
   	  calculated_rpm = MAX_RPM_LIMIT;
   	  }

    	  // FREQ IS ACTUALLY RPM
    	  measured_tachometer_frequency = calculated_rpm;

    	  previous_tachometer_capture_value = current_capture;
    	  last_spark_time = current_time;
      }
    }
}
/* USER CODE END 4 */

 /* MPU Configuration */

void MPU_Config(void)
{
  MPU_Region_InitTypeDef MPU_InitStruct = {0};

  /* Disables the MPU */
  HAL_MPU_Disable();

  /** Initializes and configures the Region and the memory to be protected
  */
  MPU_InitStruct.Enable = MPU_REGION_ENABLE;
  MPU_InitStruct.Number = MPU_REGION_NUMBER0;
  MPU_InitStruct.BaseAddress = 0x0;
  MPU_InitStruct.Size = MPU_REGION_SIZE_4GB;
  MPU_InitStruct.SubRegionDisable = 0x87;
  MPU_InitStruct.TypeExtField = MPU_TEX_LEVEL0;
  MPU_InitStruct.AccessPermission = MPU_REGION_NO_ACCESS;
  MPU_InitStruct.DisableExec = MPU_INSTRUCTION_ACCESS_DISABLE;
  MPU_InitStruct.IsShareable = MPU_ACCESS_SHAREABLE;
  MPU_InitStruct.IsCacheable = MPU_ACCESS_NOT_CACHEABLE;
  MPU_InitStruct.IsBufferable = MPU_ACCESS_NOT_BUFFERABLE;

  HAL_MPU_ConfigRegion(&MPU_InitStruct);
  /* Enables the MPU */
  HAL_MPU_Enable(MPU_PRIVILEGED_DEFAULT);

}

void Error_Handler(void)
{
}
